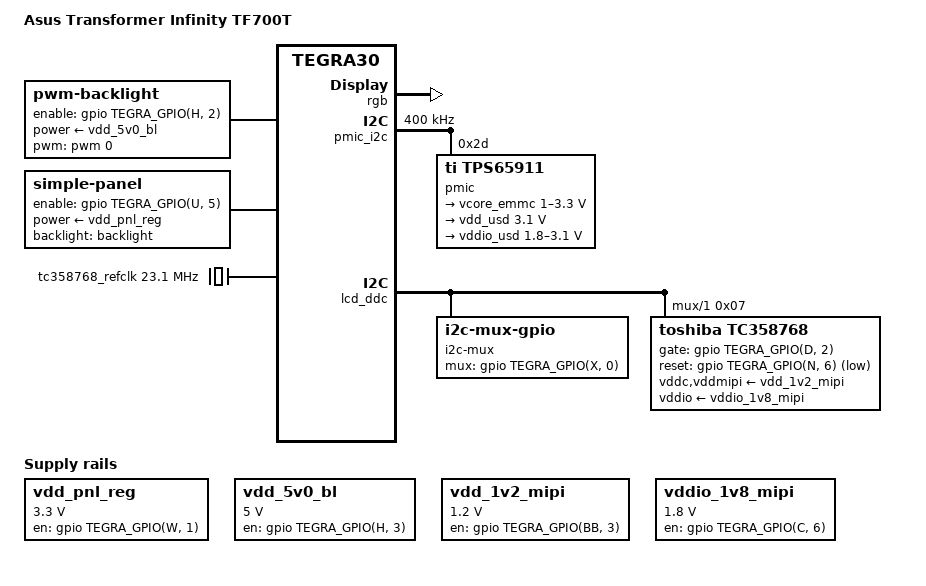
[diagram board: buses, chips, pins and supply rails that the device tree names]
// SPDX-License-Identifier: GPL-2.0-or-later
/dts-v1/;

#include <dt-bindings/input/gpio-keys.h>
#include <dt-bindings/input/linux-event-codes.h>

#include "tegra30-asus-transformer.dtsi"

/ {
	model = "Asus Transformer Infinity TF700T";

	host1x@50000000 {
		status = "okay";
		dc@54200000 {
			clocks = <&tegra_car TEGRA30_CLK_DISP1>,
				 <&tegra_car TEGRA30_CLK_PLL_D_OUT0>;
			status = "okay";

			rgb {
				status = "okay";

				nvidia,panel = <&tc358768>;

				display-timings {
					timing@0 {
						/* 1920x1200@60Hz */
						clock-frequency = <154000000>;
						hactive = <1920>;
						vactive = <1200>;
						hfront-porch = <48>;
						hback-porch = <80>;
						hsync-len = <32>;
						vsync-len = <6>;
						vfront-porch = <3>;
						vback-porch = <26>;
					};
				};
			};
		};
	};

	pmic_i2c: i2c@7000d000 {
		status = "okay";
		clock-frequency = <400000>;

		/* Texas Instruments TPS659110 PMIC */
		pmic: tps65911@2d {
			compatible = "ti,tps65911";
			reg = <0x2d>;

			interrupts = <GIC_SPI 86 IRQ_TYPE_LEVEL_HIGH>;
			#interrupt-cells = <2>;
			interrupt-controller;

			ti,system-power-controller;

			#gpio-cells = <2>;
			gpio-controller;

			regulators {
				/* eMMC VDD */
				vcore_emmc: ldo1 {
					regulator-name = "vdd_emmc_core";
					regulator-min-microvolt = <1000000>;
					regulator-max-microvolt = <3300000>;
					regulator-always-on;
				};

				/* uSD slot VDD */
				vdd_usd: ldo2 {
					regulator-name = "vdd_usd";
					regulator-min-microvolt = <3100000>;
					regulator-max-microvolt = <3100000>;
				};

				/* uSD slot VDDIO */
				vddio_usd: ldo3 {
					regulator-name = "vddio_usd";
					regulator-min-microvolt = <1800000>;
					regulator-max-microvolt = <3100000>;
				};
			};
		};
	};

	i2c-mux {
		compatible = "i2c-mux-gpio";

		mux-gpios = <&gpio TEGRA_GPIO(X, 0) GPIO_ACTIVE_HIGH>;
		i2c-parent = <&lcd_ddc>;
		idle-state = <0x0>;

		#address-cells = <1>;
		#size-cells = <0>;

		i2c@1 {
			reg = <1>;
			#address-cells = <1>;
			#size-cells = <0>;

			tc358768: dsi@7 {
				compatible = "toshiba,tc358768";
				reg = <0x7>;

				#address-cells = <1>;
				#size-cells = <0>;

				clocks = <&tc358768_refclk>;
				clock-names = "refclk";

				gate-gpios = <&gpio TEGRA_GPIO(D, 2) GPIO_ACTIVE_HIGH>;
				reset-gpios = <&gpio TEGRA_GPIO(N, 6) GPIO_ACTIVE_LOW>;

				vddc-supply = <&vdd_1v2_mipi>;
				vddio-supply = <&vddio_1v8_mipi>;
				vddmipi-supply = <&vdd_1v2_mipi>;

				panel = <&panel>;
			};
		};
	};

	backlight: backlight {
		compatible = "pwm-backlight";

		enable-gpios = <&gpio TEGRA_GPIO(H, 2) GPIO_ACTIVE_HIGH>;
		power-supply = <&vdd_5v0_bl>;
		pwms = <&pwm 0 4000000>;

		brightness-levels = <0 4 8 16 32 64 128 255>;
		default-brightness-level = <6>;
	};

	gpio-keyboard {
		compatible = "gpio-kbd";

		power {
			label = "Power";
			gpios = <&gpio TEGRA_GPIO(V, 0) GPIO_ACTIVE_LOW>;
			linux,code = <KEY_ENTER>;
		};

		volume-up {
			label = "Volume Up";
			gpios = <&gpio TEGRA_GPIO(Q, 2) GPIO_ACTIVE_LOW>;
			linux,code = <KEY_UP>;
		};

		volume-down {
			label = "Volume Down";
			gpios = <&gpio TEGRA_GPIO(Q, 3) GPIO_ACTIVE_LOW>;
			linux,code = <KEY_DOWN>;
		};
	};

	panel: panel {
		compatible = "simple-panel";

		power-supply = <&vdd_pnl_reg>;
		enable-gpios = <&gpio TEGRA_GPIO(U, 5) GPIO_ACTIVE_HIGH>;

		backlight = <&backlight>;
	};

	regulators {
		compatible = "simple-bus";
		#address-cells = <1>;
		#size-cells = <0>;

		vdd_pnl_reg: regulator@0 {
			compatible = "regulator-fixed";
			reg = <0>;
			regulator-name = "vdd_panel";
			regulator-min-microvolt = <3300000>;
			regulator-max-microvolt = <3300000>;
			gpio = <&gpio TEGRA_GPIO(W, 1) GPIO_ACTIVE_HIGH>;
			enable-active-high;
		};

		vdd_5v0_bl: regulator@1 {
			compatible = "regulator-fixed";
			reg = <1>;
			regulator-name = "vdd_5v0_bl";
			regulator-min-microvolt = <5000000>;
			regulator-max-microvolt = <5000000>;
			regulator-boot-on;
			gpio = <&gpio TEGRA_GPIO(H, 3) GPIO_ACTIVE_HIGH>;
			enable-active-high;
		};

		vdd_1v2_mipi: regulator@2 {
			compatible = "regulator-fixed";
			reg = <2>;
			regulator-name = "tc358768_1v2_vdd";
			regulator-min-microvolt = <1200000>;
			regulator-max-microvolt = <1200000>;
			gpio = <&gpio TEGRA_GPIO(BB, 3) GPIO_ACTIVE_HIGH>;
			enable-active-high;
		};

		vddio_1v8_mipi: regulator@3 {
			compatible = "regulator-fixed";
			reg = <3>;
			regulator-name = "tc358768_1v8_vddio";
			regulator-min-microvolt = <1800000>;
			regulator-max-microvolt = <1800000>;
			gpio = <&gpio TEGRA_GPIO(C, 6) GPIO_ACTIVE_HIGH>;
			enable-active-high;
		};
	};

	tc358768_refclk: clock-tc358768 {
		compatible = "fixed-clock";
		#clock-cells = <0>;
		clock-frequency = <23100000>;
	};
};
